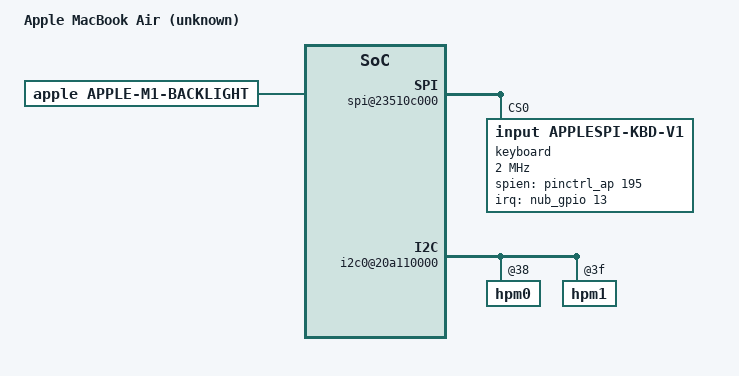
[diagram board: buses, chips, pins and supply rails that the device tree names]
// SPDX-License-Identifier: GPL-2.0+ OR MIT
/*
 * Apple MacBook Pro (13-inch, M1, 2020)
 *
 * target-type: J313
 *
 * Copyright The Asahi Linux Contributors
 */

/dts-v1/;

#include <dt-bindings/leds/common.h>

#include "t8103.dtsi"

/ {
	compatible = "apple,j313", "apple,t8103", "apple,arm-platform";
	model = "Apple MacBook Air (unknown)";

	chosen {
		#address-cells = <2>;
		#size-cells = <2>;
		ranges;
	};

	soc {
		spi@23510c000 {
			keyboard@0 {
				compatible = "input,applespi-kbd-v1";
				reg = <0>;
				spi-max-frequency = <2000000>;
				spien-gpios = <&pinctrl_ap 195 0>;
				irq-gpios = <&nub_gpio 13 0>;
				interrupt-parent = <&nub_gpio>;
				interrupts = <13 8>;
			};
		};

		i2c0@20a110000 {
			hpm0@38 {
			 	connector {
				 	data-role = "dual-role";
				};
			};
			hpm1@3f {
			 	connector {
				 	data-role = "dual-role";
				};
			};
		};

		usb0@382280000 {
			dwc3@382280000 {
				dr_mode = "dual-role";
			};
		};

		usb1@502280000 {
			dwc3@502280000 {
				dr_mode = "dual-role";
			};
		};

#if 0
		dcpext_dart: iommu@27130c000 {
			compatible = "apple,t8103-dart";
			reg = <0x2 0x7130c000 0 0x4000>;
			interrupt-parent = <&aic>;
			interrupts = <AIC_IRQ 0x1bd IRQ_TYPE_LEVEL_HIGH>;
			#iommu-cells = <1>;
		};

		dcpext_mbox: dcpext_mbox@271c08000 {
		        compatible = "apple,apple-mailbox";
			reg = <0x2 0x71c08000 0 0x4000>;
			#mbox-cells = <1>; /* could be 0, but that requires extra code */
			interrupt-parent = <&aic>;
			interrupts = <0 0x1d2 4  0 0x1d5 4>;
		};

		dcpext_asc: remoteproc@271c00000 {
		        compatible = "apple,apple-asc";
			reg = <0x2 0x71c00000 0 0x8000>;
			rproc-name = "dcpext";
			iommus = <&dcpext_dart 15>;
			mboxes = <&dcpext_mbox 0>;
			#mbox-cells = <1>;
			endpoints = <0>;
			dcpext_asc_mgmt: dcpext_asc_mgmt@0 {
				compatible = "apple,apple-asc-mgmt", "apple,apple-asc-system-endpoint";
				mboxes = <&dcpext_asc 0x0>;
				rprocs = <&dcpext_asc>;
				iommus = <&dcpext_dart 15>;
			};
			dcpext_asc_panic: dcpext_asc_panic@1 {
				compatible = "apple,apple-asc-panic", "apple,apple-asc-system-endpoint";
				mboxes = <&dcpext_asc 0x1>;
				rprocs = <&dcpext_asc>;
				iommus = <&dcpext_dart 15>;
			};
			dcpext_asc_syslog: dcpext_asc_syslog@2 {
				compatible = "apple,apple-asc-syslog", "apple,apple-asc-system-endpoint";
				mboxes = <&dcpext_asc 0x2>;
				rprocs = <&dcpext_asc>;
				iommus = <&dcpext_dart 15>;
			};
			dcpext_asc_ioreport: dcpext_asc_ioreport@4 {
				compatible = "apple,apple-asc-iorpt", "apple,apple-asc-system-endpoint";
				mboxes = <&dcpext_asc 0x4>;
				rprocs = <&dcpext_asc>;
				iommus = <&dcpext_dart 15>;
			};
			dcpext_asc_dcp: dcpext_asc_dcp@37 {
				compatible = "apple,apple-asc-dcp", "apple,apple-asc-system-endpoint";
				mboxes = <&dcpext_asc 0x37>;
				rprocs = <&dcpext_asc>;
				#mbox-cells = <1>; /* could be 0, but requires extra code */
				iommus = <&dcpext_dart 15>;
			};
		};

		dispext_dart: iommu@2713040000 {
			compatible = "apple,t8103-dart";
			reg = <0x2 0x71304000 0x0 0x4000>;
			#iommu-cells = <1>;
			interrupt-parent = <&aic>;
			interrupts = <0 0x1bd /* is this right? */ 4>;
			fake-locked;
		};

		dispext: display-subsystem@270840000 {
			compatible = "apple,t8103-disp";
			iommus = <&dispext_dart 0>, <&dispext_dart 4>;
			reg = <0x2 0x70840000 0x0 0x40000>;
			reg-names = "fbcontrols";
			mboxes = <&dcpext_asc_dcp 0>;
			#kvbox-cells = <1>;
			switch-to-4k;
			external-interface;
		};
#endif
	};

	backlight: backlight {
		compatible = "apple,apple-m1-backlight";
		max-brightness = <0x20d0000>;
		kvboxes = <&disp 0>;
	};
};
